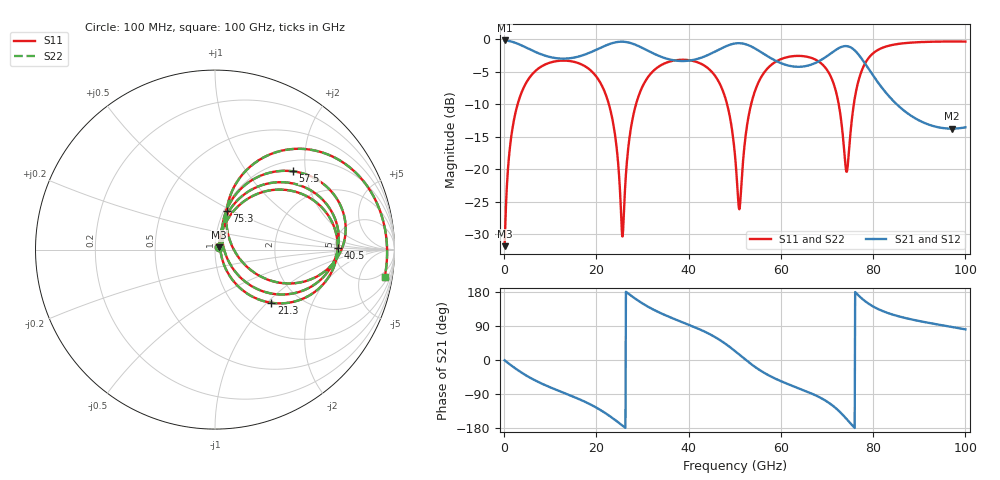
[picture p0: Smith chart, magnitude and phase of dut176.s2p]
! Touchstone file exported from HFSS 2026.1.0
!  File:  C:/ffzhzh/LocalFiles/Ansys_Project_Files/temp_train_TSV_RDL_176_1783652000_33328.aedt
!  Generated:  11:01:08 AM Jul 10, 2026
!  Design:  TSV_RDL
!  Project:  temp_train_TSV_RDL_176_1783652000_33328
! Variables:
!  h_bsmrdl = 4.43um
!  h_ox = 20um
!  h_rdl = 5um
!  h_sub = 56.83um
!  h_tmrdl = 2.49um
!  h_tsv = 56.83um
!  h_via = 3um
!  l_bsmrdl = 106.47um
!  l_sub = 2337.36um
!  l_tmrdl = 378.44um
!  m_sub = 200um
!  pitch = 55.51um
!  r_tsv = 5.37um
!  s_tmrdl = 10um
!  w_bsmrdl = 23.75um
!  w_sub = 500um
!  w_tmrdl = 10.98um
!  x_tsv_center1 = 383.93um
!  x_tsv_center2 = 514.15um
!  x_tsv_center3 = 903.57um
!  x_tsv_center4 = 1033.79um
!  x_tsv_center5 = 1423.21um
!  x_tsv_center6 = 1553.43um
# GHz S MA R 50.000000
! Terminal data exported
! Port[1] = TM_RDL1_1_T1
! Port[2] = TM_RDL5_1_T1
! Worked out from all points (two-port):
!   1000 points, 100 MHz to 100 GHz, reference 50 ohm
!   highest |S21| = -0.20 dB at 100 MHz (marker M1); lowest = -13.8 dB at 97.1 GHz (marker M2)
!   |S21| within 3 dB of the highest: start of sweep to 36.38 GHz; 40.96 GHz to 58.53 GHz (17.57 GHz wide, 35.3 % of centre) (the widest 2 of 3)
!   lowest |S11| = -31.8 dB at 100 MHz (marker M3), VSWR 1.05, Z = 52.3 + j1.23 ohm
!   |S11| at or under -10 dB: 22.7 GHz to 28.59 GHz (5.889 GHz wide, 23 % of centre); 48.33 GHz to 53.55 GHz (5.217 GHz wide, 10.2 % of centre); 72.54 GHz to 75.81 GHz (3.274 GHz wide, 4.41 % of centre) (the widest 3 of 4)
!   |S22| runs from -31.8 to -0.4 dB; largest |S21 - S12| = 1.7e-14
!   S11 on the Smith chart (normalised r, x): 100 MHz: 1.05, +0.02; 21.3 GHz: 1.46, -1.06; 40.5 GHz: 5.35, +0.15; 57.5 GHz: 1.22, +1.71; 75.3 GHz: 1.03, +0.47; 100 GHz: 3, -12
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0.1  0.02559 27.2  0.9774 -1.0  0.9774 -1.0  0.02559 27.2
! Gamma 0 0 0 0
! Port Impedance 50 0 50 0
1.6  0.1846 67.2  0.9578 -14.9  0.9578 -14.9  0.1846 67.2
4.2  0.4214 49.9  0.8812 -36.6  0.8812 -36.6  0.4214 49.9
16.8  0.6388 -16.6  0.7468 -106.2  0.7468 -106.2  0.6388 -16.6
21.3  0.4315 -43.3  0.871 -135.1  0.871 -135.1  0.4315 -43.4
25.7  0.03044 16.1  0.956 -173.5  0.956 -173.5  0.02981 16.3
28.3  0.2889 66.3  0.9106 162.9  0.9106 162.9  0.2888 66.5
33.4  0.6114 34.4  0.7476 126.7  0.7476 126.7  0.6113 34.4
40.5  0.6853 0.6  0.6872 90.7  0.6872 90.7  0.6853 0.7
47  0.4351 -35.1  0.846 50.9  0.846 50.9  0.4351 -35.0
50.1  0.1217 -44.6  0.9272 23.0  0.9272 23.0  0.1218 -44.4
51.1  0.05147 29.5  0.9309 13.0  0.9309 13.0  0.05185 29.5
53.5  0.3111 70.4  0.8812 -10.3  0.8812 -10.3  0.3112 70.3
57.5  0.6156 45.1  0.7254 -41.4  0.7254 -41.4  0.6157 45.1
66.7  0.7157 2.3  0.6393 -88.7  0.6393 -88.7  0.7158 2.4
71.5  0.4473 -25.0  0.8082 -122.9  0.8082 -122.9  0.4475 -24.9
74.2  0.09565 16.3  0.8846 -155.1  0.8846 -155.1  0.0964 16.3
75.3  0.2269 73.4  0.8577 -170.1  0.8577 -170.1  0.2271 73.2
78.4  0.665 56.0  0.6373 153.9  0.6373 153.9  0.665 56.0
83.4  0.8904 29.3  0.3652 123.1  0.3652 123.1  0.8904 29.3
97.1  0.9594 -3.3  0.2051 87.1  0.2051 87.1  0.9594 -3.3
100  0.9579 -9.0  0.21 80.9  0.21 80.9  0.9579 -9.0
